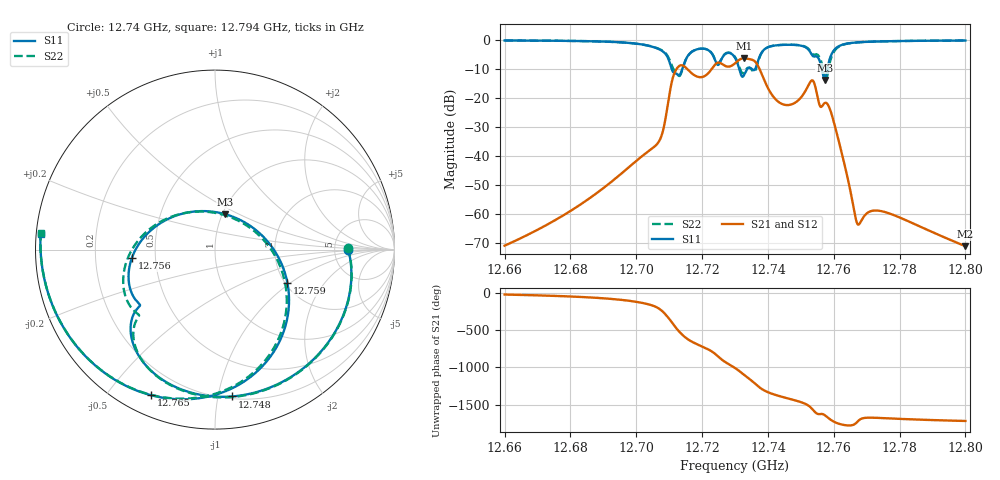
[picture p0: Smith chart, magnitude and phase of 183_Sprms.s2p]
! TOUCHSTONE file generated by CST MICROWAVE STUDIO
! Date and time: Wed Jul 31 20:08:52 2024
! Project name: WaveGuide_BPF-Ver4.1_U-shape_Ku_T3_C4_CWA_2.cst
! Parameters = {cavity_h=16; cavity_l0=10; cavity_l1=15.1748; cavity_l2=16.8529; cavity_l3=17.0621; cavity_l4=17.2707; cavity_l5=17.1519; cavity_l6=17.5761; cavity_r=2.5; cavity_screw_l=0.5; cavity_screw_r=1.5; cavity_w=8; iris_h00=0; iris_h01=8.8385; iris_h112=0; iris_h12=5.6114; iris_h211=3.6682; 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
! Header version: 2018
! Port assignment regex: !\s*Touchstone port\s*([0-9]+)\s*=\s*(CST MWS port|CST DS port)\s*([0-9]+|Zmin|Zmax)\s*\(\"(.*)\"\)(\s*mode\s*([0-9]+))?.*
! Touchstone port assignment:
! Touchstone port 1 = CST MWS port 1 ("")
! Touchstone port 2 = CST MWS port 2 ("")
# GHz S RI R 50
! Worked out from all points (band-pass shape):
!   5001 points, 12.66 GHz to 12.8 GHz, reference 50 ohm
!   highest |S21| = -6.31 dB at 12.733 GHz (marker M1); lowest = -71.0 dB at 12.8 GHz (marker M2)
!   |S21| within 3 dB of the highest: 12.71269 GHz to 12.71483 GHz (2.134 MHz wide, 0.0168 % of centre); 12.72336 GHz to 12.73717 GHz (13.81 MHz wide, 0.108 % of centre)
!   lowest |S11| = -13.8 dB at 12.757 GHz (marker M3), VSWR 1.52, Z = 51.7 + j21.3 ohm
!   |S11| at or under -10 dB: 12.71076 GHz to 12.71398 GHz (3.223 MHz wide, 0.0254 % of centre); 12.73129 GHz to 12.73373 GHz (2.438 MHz wide, 0.0191 % of centre); 12.7564 GHz to 12.75804 GHz (1.647 MHz wide, 0.0129 % of centre)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
!   |S22| runs from -14.0 to -0.2 dB; largest |S21 - S12| = 1e-09
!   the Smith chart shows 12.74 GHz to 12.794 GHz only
!   S11 on the Smith chart (normalised r, x): 12.74 GHz: 6.76, -0.01; 12.748 GHz: 0.22, -1.10; 12.756 GHz: 0.36, -0.04; 12.759 GHz: 2.06, -0.95; 12.765 GHz: 0.09, -0.65; 12.794 GHz: 0.01, +0.04
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12.66  0.3187 0.9281  0.000264 -0.000113  0.000264 -0.000113  0.3234 0.9266
12.68335  0.7308 0.6194  0.000845 -0.00125  0.000845 -0.00125  0.7336 0.6163
12.69875  0.8526 -0.2165  -0.00277 -0.00665  -0.00277 -0.00665  0.8537 -0.2164
12.70668  -0.0904 -0.6982  -0.0155 0.00734  -0.0155 0.00734  -0.0735 -0.7077
12.71228  -0.2616 -0.00187  -0.1675 -0.2717  -0.1675 -0.2717  -0.2676 0.0219
12.71522  -0.476 0.0712  -0.1189 0.3048  -0.1189 0.3048  -0.4744 0.0609
12.71958  -0.0988 0.7011  0.2261 0.0352  0.2261 0.0352  -0.1155 0.7
12.72591  0.2278 0.4099  -0.3879 -0.0469  -0.3879 -0.0469  0.2317 0.4201
12.73  0.4922 0.0446  0.1196 0.3779  0.1196 0.3779  0.5045 0.0686
12.73269  0.2274 0.0935  0.462 -0.1433  0.462 -0.1433  0.2632 0.0834
12.73644  0.2846 0.2015  -0.3536 -0.1939  -0.3536 -0.1939  0.2645 0.1892
12.7398  0.7424 -0.000466  -0.057 0.146  -0.057 0.146  0.7405 0.0107
12.74786  0.097 -0.8181  0.0807 0.00405  0.0807 0.00405  0.1186 -0.8191
12.75335  -0.4412 -0.3397  -0.0793 -0.1853  -0.0793 -0.1853  -0.4389 -0.3958
12.75551  -0.4637 -0.048  -0.0816 0.00921  -0.0816 0.00921  -0.5079 -0.1273
12.75724  0.0581 0.1969  -0.0772 0.0278  -0.0772 0.0278  -0.0725 0.2119
12.75864  0.4034 -0.1853  -0.0259 0.0637  -0.0259 0.0637  0.3619 -0.0908
12.76511  -0.3555 -0.8114  0.00225 0.000928  0.00225 0.000928  -0.3491 -0.8107
12.76744  -0.5347 -0.7387  8.75e-05 0.000656  8.75e-05 0.000656  -0.5329 -0.7383
12.77668  -0.8699 -0.3875  -0.000466 0.000931  -0.000466 0.000931  -0.8712 -0.3843
12.7942  -0.9714 0.0866  1.24e-05 0.000386  1.24e-05 0.000386  -0.971 0.0912
12.8  -0.9598 0.1925  4.07e-05 0.000279  4.07e-05 0.000279  -0.9588 0.1972
